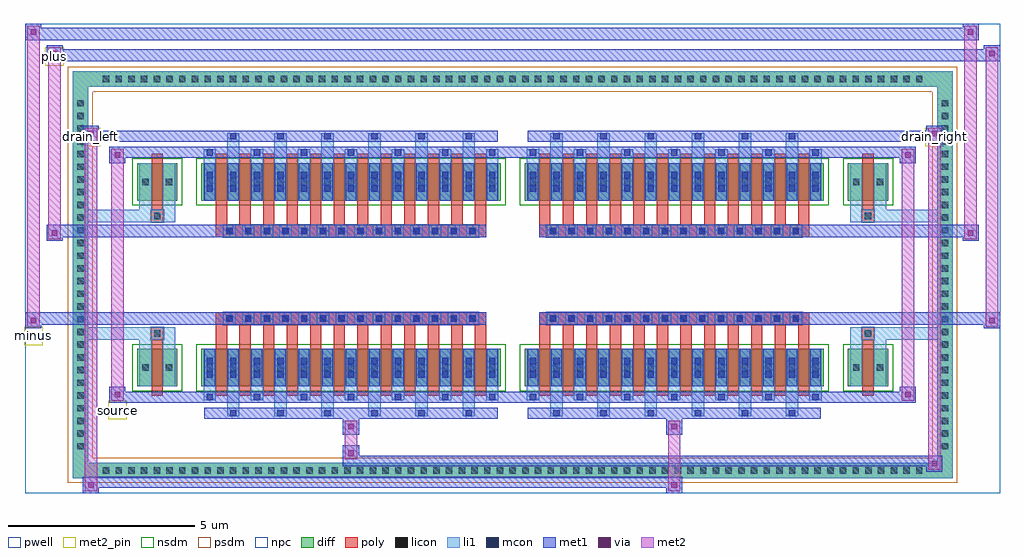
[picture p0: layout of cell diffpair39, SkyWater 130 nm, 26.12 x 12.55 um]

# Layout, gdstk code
import gdstk
lib = gdstk.Library(unit=1e-6, precision=5e-09)
def R(c, l, rs):  # rectangles x0, y0, x1, y1
    for r in rs: c.add(gdstk.rectangle(r[:2], r[2:], *l))
def A(c, l, x, y, w, h, nx, ny, dx, dy):  # array of equal rectangles
    R(c, l, [(x+i*dx, y+j*dy, x+i*dx+w, y+j*dy+h) for i in range(nx) for j in range(ny)])
def P(c, l, *ps):  # polygons
    for p in ps: c.add(gdstk.Polygon(p, *l))
pwell = (64, 44)
diff = (65, 20)
poly = (66, 20)
licon = (66, 44)
li1 = (67, 20)
mcon = (67, 44)
met1 = (68, 20)
via = (68, 44)
met2_pin = (69, 16)
met2 = (69, 20)
nsdm = (93, 44)
psdm = (94, 20)
npc = (95, 20)

diffpair39 = lib.new_cell('diffpair39')
R(diffpair39, pwell, [(-13.04,-5.84,13.04,6.71), (-10.36,-4.03,-0.01,-0.805), (0.01,-4.03,10.36,-0.805), (-10.36,0.805,-0.01,4.03), (0.01,0.805,10.36,4.03)])
A(diffpair39, diff, -11.085, -5.44, 0.41, 0.41, 65, 2, 0.34, 10.47)
A(diffpair39, diff, -11.77, -4.795, 0.41, 0.41, 1, 28, 0, 0.34)
A(diffpair39, diff, 11.36, -4.795, 0.41, 0.41, 1, 28, 0, 0.34)
R(diffpair39, diff, [(-11.085,-5.44,11.085,-5.03), (-11.77,-4.795,-11.36,4.795), (11.36,-4.795,11.77,4.795), (-10.05,-2.985,-8.97,-1.985), (-8.33,-2.985,-0.32,-1.985), (0.32,-2.985,8.33,-1.985), (8.97,-2.985,10.05,-1.985), (-10.05,1.985,-8.97,2.985), (-8.33,1.985,-0.32,2.985), (0.32,1.985,8.33,2.985), (8.97,1.985,10.05,2.985), (-11.085,5.03,11.085,5.44)])
P(diffpair39, diff, [(11.77,5.44),(-11.77,5.44),(-11.77,-5.03),(-11.36,-5.03),(-11.36,5.03),(11.36,5.03),(11.36,-5.03),(-11.36,-5.03),(-11.77,-5.03),(-11.77,-5.44),(11.77,-5.44)])
A(diffpair39, poly, -7.94, -3.235, 0.3, 1.5, 12, 2, 0.63, 4.97)
A(diffpair39, poly, 0.71, -3.235, 0.3, 1.5, 12, 2, 0.63, 4.97)
A(diffpair39, poly, -7.94, -1.735, 0.3, 0.4, 12, 2, 0.63, 3.07)
A(diffpair39, poly, 0.71, -1.735, 0.3, 0.4, 12, 2, 0.63, 3.07)
A(diffpair39, poly, -7.74, -1.335, 0.33, 0.33, 14, 2, 0.5, 2.34)
A(diffpair39, poly, 0.91, -1.335, 0.33, 0.33, 14, 2, 0.5, 2.34)
R(diffpair39, poly, [(-9.66,-3.235,-9.36,-1.735), (9.36,-3.235,9.66,-1.735), (-9.675,-1.735,-9.345,-1.405), (-9.675,-1.735,-9.345,-1.405), (9.345,-1.735,9.675,-1.405), (9.345,-1.735,9.675,-1.405), (-7.94,-1.335,-0.71,-1.005), (0.71,-1.335,7.94,-1.005), (-7.94,1.005,-0.71,1.335), (0.71,1.005,7.94,1.335), (-9.675,1.405,-9.345,1.735), (-9.675,1.405,-9.345,1.735), (9.345,1.405,9.675,1.735), (9.345,1.405,9.675,1.735), (-9.66,1.735,-9.36,3.235), (9.36,1.735,9.66,3.235)])
A(diffpair39, licon, -10.965, -5.32, 0.17, 0.17, 65, 2, 0.34, 10.47)
A(diffpair39, licon, -11.65, -4.675, 0.17, 0.17, 1, 28, 0, 0.34)
A(diffpair39, licon, 11.48, -4.675, 0.17, 0.17, 1, 28, 0, 0.34)
A(diffpair39, licon, -8.19, -2.57, 0.17, 0.17, 13, 2, 0.63, 4.97)
A(diffpair39, licon, 0.46, -2.57, 0.17, 0.17, 13, 2, 0.63, 4.97)
A(diffpair39, licon, -7.66, -1.255, 0.17, 0.17, 14, 2, 0.5, 2.34)
A(diffpair39, licon, 0.99, -1.255, 0.17, 0.17, 14, 2, 0.5, 2.34)
R(diffpair39, licon, [(-9.91,-2.57,-9.74,-2.4), (-9.28,-2.57,-9.11,-2.4), (9.11,-2.57,9.28,-2.4), (9.74,-2.57,9.91,-2.4), (-9.595,-1.655,-9.425,-1.485), (9.425,-1.655,9.595,-1.485), (-9.595,1.485,-9.425,1.655), (9.425,1.485,9.595,1.655), (-9.91,2.4,-9.74,2.57), (-9.28,2.4,-9.11,2.57), (9.11,2.4,9.28,2.57), (9.74,2.4,9.91,2.57)])
A(diffpair39, li1, -11.045, -5.4, 0.33, 0.33, 65, 2, 0.34, 10.47)
A(diffpair39, li1, -11.73, -4.755, 0.33, 0.33, 1, 28, 0, 0.34)
A(diffpair39, li1, 11.4, -4.755, 0.33, 0.33, 1, 28, 0, 0.34)
A(diffpair39, li1, -7.64, -3.79, 0.33, 0.805, 6, 2, 1.26, 6.775)
A(diffpair39, li1, -7.56, -3.79, 0.17, 0.17, 6, 2, 1.26, 7.41)
A(diffpair39, li1, 1.01, -3.79, 0.33, 0.805, 6, 2, 1.26, 6.775)
A(diffpair39, li1, 1.09, -3.79, 0.17, 0.17, 6, 2, 1.26, 7.41)
A(diffpair39, li1, -8.27, -3.36, 0.33, 0.375, 7, 2, 1.26, 6.345)
A(diffpair39, li1, -8.19, -3.36, 0.17, 0.17, 7, 2, 1.26, 6.55)
A(diffpair39, li1, 0.38, -3.36, 0.33, 0.375, 7, 2, 1.26, 6.345)
A(diffpair39, li1, 0.46, -3.36, 0.17, 0.17, 7, 2, 1.26, 6.55)
A(diffpair39, li1, -8.27, -2.985, 0.33, 1, 13, 2, 0.63, 4.97)
A(diffpair39, li1, 0.38, -2.985, 0.33, 1, 13, 2, 0.63, 4.97)
A(diffpair39, li1, -8.19, -2.75, 0.17, 0.17, 13, 2, 0.63, 0.36)
A(diffpair39, li1, -8.19, -2.75, 0.17, 0.53, 13, 2, 0.63, 4.97)
A(diffpair39, li1, 0.46, -2.75, 0.17, 0.17, 13, 2, 0.63, 0.36)
A(diffpair39, li1, 0.46, -2.75, 0.17, 0.53, 13, 2, 0.63, 4.97)
A(diffpair39, li1, -8.27, -2.65, 0.33, 0.33, 13, 2, 0.63, 4.97)
A(diffpair39, li1, 0.38, -2.65, 0.33, 0.33, 13, 2, 0.63, 4.97)
A(diffpair39, li1, -7.74, -1.335, 0.33, 0.33, 14, 2, 0.5, 2.34)
A(diffpair39, li1, 0.91, -1.335, 0.33, 0.33, 14, 2, 0.5, 2.34)
A(diffpair39, li1, -8.19, 2.22, 0.17, 0.17, 13, 2, 0.63, 0.36)
A(diffpair39, li1, 0.46, 2.22, 0.17, 0.17, 13, 2, 0.63, 0.36)
R(diffpair39, li1, [(-11.77,-5.44,-11.36,-5.03), (-11.77,-5.44,-11.36,-5.03), (-11.36,-5.44,11.36,-5.03), (11.36,-5.44,11.77,-5.03), (11.36,-5.44,11.77,-5.03), (-11.77,-5.03,-11.36,5.03), (11.36,-5.03,11.77,5.03), (-9.99,-2.985,-9.66,-1.985), (-9.36,-2.985,-9.03,-1.985), (9.03,-2.985,9.36,-1.985), (9.66,-2.985,9.99,-1.985), (-9.99,-2.65,-9.66,-2.32), (-9.36,-2.65,-9.03,-2.32), (9.03,-2.65,9.36,-2.32), (9.66,-2.65,9.99,-2.32), (-9.99,-1.985,-9.66,-1.405), (-9.36,-1.985,-9.03,-1.405), (9.03,-1.985,9.36,-1.405), (9.66,-1.985,9.99,-1.405), (-11.77,-1.735,-9.675,-1.405), (-9.99,-1.735,-9.675,-1.405), (-9.675,-1.735,-9.345,-1.405), (-9.345,-1.735,-9.03,-1.405), (9.03,-1.735,9.345,-1.405), (9.345,-1.735,9.675,-1.405), (9.345,-1.735,11.77,-1.405), (9.675,-1.735,9.99,-1.405), (-11.77,1.405,-9.675,1.735), (-9.99,1.405,-9.675,1.735), (-9.99,1.405,-9.66,1.985), (-9.675,1.405,-9.345,1.735), (-9.36,1.405,-9.03,1.985), (-9.345,1.405,-9.03,1.735), (9.03,1.405,9.345,1.735), (9.03,1.405,9.36,1.985), (9.345,1.405,9.675,1.735), (9.345,1.405,11.77,1.735), (9.66,1.405,9.99,1.985), (9.675,1.405,9.99,1.735), (-9.99,1.985,-9.66,2.985), (-9.36,1.985,-9.03,2.985), (9.03,1.985,9.36,2.985), (9.66,1.985,9.99,2.985), (-9.99,2.32,-9.66,2.65), (-9.36,2.32,-9.03,2.65), (9.03,2.32,9.36,2.65), (9.66,2.32,9.99,2.65), (-11.77,5.03,-11.36,5.44), (-11.77,5.03,-11.36,5.44), (-11.36,5.03,11.36,5.44), (11.36,5.03,11.77,5.44), (11.36,5.03,11.77,5.44)])
A(diffpair39, mcon, -7.56, -3.79, 0.17, 0.17, 6, 2, 1.26, 7.41)
A(diffpair39, mcon, 1.09, -3.79, 0.17, 0.17, 6, 2, 1.26, 7.41)
A(diffpair39, mcon, -8.19, -3.36, 0.17, 0.17, 7, 2, 1.26, 6.55)
A(diffpair39, mcon, 0.46, -3.36, 0.17, 0.17, 7, 2, 1.26, 6.55)
A(diffpair39, mcon, -8.19, -2.75, 0.17, 0.17, 13, 2, 0.63, 0.36)
A(diffpair39, mcon, 0.46, -2.75, 0.17, 0.17, 13, 2, 0.63, 0.36)
A(diffpair39, mcon, -7.66, -1.255, 0.17, 0.17, 14, 2, 0.5, 2.34)
A(diffpair39, mcon, 0.99, -1.255, 0.17, 0.17, 14, 2, 0.5, 2.34)
A(diffpair39, mcon, -8.19, 2.22, 0.17, 0.17, 13, 2, 0.63, 0.36)
A(diffpair39, mcon, 0.46, 2.22, 0.17, 0.17, 13, 2, 0.63, 0.36)
A(diffpair39, met1, -7.62, -3.85, 0.29, 0.29, 6, 2, 1.26, 7.41)
A(diffpair39, met1, 1.03, -3.85, 0.29, 0.29, 6, 2, 1.26, 7.41)
A(diffpair39, met1, -8.25, -3.42, 0.29, 0.29, 7, 2, 1.26, 6.55)
A(diffpair39, met1, 0.4, -3.42, 0.29, 0.29, 7, 2, 1.26, 6.55)
A(diffpair39, met1, -8.25, -2.985, 0.29, 1, 13, 2, 0.63, 4.97)
A(diffpair39, met1, 0.4, -2.985, 0.29, 1, 13, 2, 0.63, 4.97)
A(diffpair39, met1, -8.25, -2.81, 0.29, 0.29, 13, 2, 0.63, 0.36)
A(diffpair39, met1, 0.4, -2.81, 0.29, 0.29, 13, 2, 0.63, 0.36)
A(diffpair39, met1, -7.72, -1.315, 0.29, 0.29, 14, 2, 0.5, 2.34)
A(diffpair39, met1, 0.93, -1.315, 0.29, 0.29, 14, 2, 0.5, 2.34)
A(diffpair39, met1, -8.25, 2.16, 0.29, 0.29, 13, 2, 0.63, 0.36)
A(diffpair39, met1, 0.4, 2.16, 0.29, 0.29, 13, 2, 0.63, 0.36)
R(diffpair39, met1, [(-11.5,-5.84,-11.07,-5.41), (4.11,-5.84,4.54,-5.41), (-11.5,-5.7,4.54,-5.41), (11.07,-5.27,11.5,-4.84), (-4.54,-5.13,11.5,-4.84), (-4.54,-4.99,-4.11,-4.56), (-4.54,-4.28,-4.11,-3.85), (4.11,-4.28,4.54,-3.85), (-8.25,-3.85,-0.4,-3.56), (0.4,-3.85,8.25,-3.56), (-10.79,-3.42,-10.36,-2.99), (-10.79,-3.42,-8.25,-3.13), (-8.25,-3.42,-0.4,-3.13), (-0.4,-3.42,0.4,-3.13), (0.4,-3.42,8.25,-3.13), (8.25,-3.42,10.79,-3.13), (10.36,-3.42,10.79,-2.99), (-13.04,-1.435,-12.61,-1.005), (12.61,-1.435,13.04,-1.005), (-13.04,-1.335,-0.71,-1.005), (-7.94,-1.335,-0.71,-1.005), (0.71,-1.335,7.94,-1.005), (0.71,-1.335,13.04,-1.005), (-12.47,0.905,-12.04,1.335), (12.04,0.905,12.47,1.335), (-12.47,1.005,-7.94,1.335), (-7.94,1.005,-0.71,1.335), (0.71,1.005,7.94,1.335), (7.94,1.005,12.47,1.335), (-10.79,2.99,-10.36,3.42), (10.36,2.99,10.79,3.42), (-10.79,3.13,-8.25,3.42), (-8.25,3.13,-0.4,3.42), (-0.4,3.13,0.4,3.42), (0.4,3.13,8.25,3.42), (8.25,3.13,10.79,3.42), (-11.5,3.56,-11.07,3.99), (-11.5,3.56,-8.25,3.85), (-8.25,3.56,-0.4,3.85), (0.4,3.56,8.25,3.85), (8.25,3.56,11.5,3.85), (11.07,3.56,11.5,3.99), (-12.47,5.71,-12.04,6.14), (-12.47,5.71,-10.36,6.04), (-10.36,5.71,10.36,6.04), (10.36,5.71,13.04,6.04), (12.61,5.71,13.04,6.14), (-13.04,6.28,-12.61,6.71), (-13.04,6.28,-10.36,6.61), (-10.36,6.28,10.36,6.61), (10.36,6.28,12.47,6.61), (12.04,6.28,12.47,6.71)])
R(diffpair39, via, [(-11.36,-5.7,-11.21,-5.55), (4.25,-5.7,4.4,-5.55), (11.21,-5.13,11.36,-4.98), (-4.4,-4.85,-4.25,-4.7), (-4.4,-4.14,-4.25,-3.99), (4.25,-4.14,4.4,-3.99), (-10.65,-3.28,-10.5,-3.13), (10.5,-3.28,10.65,-3.13), (-12.9,-1.295,-12.75,-1.145), (12.75,-1.295,12.9,-1.145), (-12.33,1.045,-12.18,1.195), (12.18,1.045,12.33,1.195), (-10.65,3.13,-10.5,3.28), (10.5,3.13,10.65,3.28), (-11.36,3.7,-11.21,3.85), (11.21,3.7,11.36,3.85), (-12.33,5.85,-12.18,6), (12.75,5.85,12.9,6), (-12.9,6.42,-12.75,6.57), (12.18,6.42,12.33,6.57)])
R(diffpair39, met2_pin, [(-10.825,-3.87,-10.325,-3.37), (-13.075,-1.885,-12.575,-1.385), (-11.535,3.44,-11.035,3.94), (11.035,3.44,11.535,3.94), (-12.505,5.59,-12.005,6.09)])
R(diffpair39, met2, [(-11.45,-5.79,-11.12,-5.46), (-11.45,-5.79,-11.12,3.94), (4.16,-5.79,4.49,-5.46), (4.16,-5.46,4.49,-4.23), (11.12,-5.22,11.45,-4.89), (11.12,-5.22,11.45,3.94), (-4.49,-4.94,-4.16,-4.61), (-4.49,-4.61,-4.16,-4.23), (-4.49,-4.23,-4.16,-3.9), (4.16,-4.23,4.49,-3.9), (-10.74,-3.37,-10.41,-3.04), (-10.74,-3.37,-10.41,3.37), (10.41,-3.37,10.74,-3.04), (10.41,-3.37,10.74,3.37), (-12.99,-1.385,-12.66,-1.055), (-12.99,-1.385,-12.66,6.66), (12.66,-1.385,12.99,-1.055), (12.66,-1.385,12.99,6.09), (-12.42,0.955,-12.09,1.285), (-12.42,0.955,-12.09,6.09), (12.09,0.955,12.42,1.285), (12.09,0.955,12.42,6.66), (-10.74,3.04,-10.41,3.37), (10.41,3.04,10.74,3.37), (-11.45,3.61,-11.12,3.94), (11.12,3.61,11.45,3.94), (-12.42,5.76,-12.09,6.09), (12.66,5.76,12.99,6.09), (-12.99,6.33,-12.66,6.66), (12.09,6.33,12.42,6.66)])
P(diffpair39, met2, [(12.99,-1.385),(12.99,-1.385),(12.99,-1.055),(12.99,-1.055)],
  [(12.99,5.76),(12.99,5.76),(12.99,6.09),(12.99,6.09)],
  [(-12.66,-1.385),(-12.66,-1.385),(-12.66,-1.055),(-12.66,-1.055)],
  [(-12.66,6.33),(-12.66,6.33),(-12.66,6.66),(-12.66,6.66)],
  [(12.42,0.955),(12.42,0.955),(12.42,1.285),(12.42,1.285)],
  [(12.42,6.33),(12.42,6.33),(12.42,6.66),(12.42,6.66)],
  [(-12.09,0.955),(-12.09,0.955),(-12.09,1.285),(-12.09,1.285)],
  [(-12.09,5.76),(-12.09,5.76),(-12.09,6.09),(-12.09,6.09)],
  [(-11.12,-5.79),(-11.12,-5.79),(-11.12,-5.46),(-11.12,-5.46)],
  [(-11.12,3.61),(-11.12,3.61),(-11.12,3.94),(-11.12,3.94)],
  [(11.45,-5.22),(11.45,-5.22),(11.45,-4.89),(11.45,-4.89)],
  [(11.45,3.61),(11.45,3.61),(11.45,3.94),(11.45,3.94)],
  [(-10.41,-3.37),(-10.41,-3.37),(-10.41,-3.04),(-10.41,-3.04)],
  [(-10.41,3.04),(-10.41,3.04),(-10.41,3.37),(-10.41,3.37)],
  [(10.74,-3.37),(10.74,-3.37),(10.74,-3.04),(10.74,-3.04)],
  [(10.74,3.04),(10.74,3.04),(10.74,3.37),(10.74,3.37)])
R(diffpair39, nsdm, [(-10.18,-3.115,-8.84,-1.855), (-8.46,-3.115,-0.19,-1.855), (0.19,-3.115,8.46,-1.855), (8.84,-3.115,10.18,-1.855), (-10.18,1.855,-8.84,3.115), (-8.46,1.855,-0.19,3.115), (0.19,1.855,8.46,3.115), (8.84,1.855,10.18,3.115)])
P(diffpair39, psdm, [(11.9,5.57),(-11.9,5.57),(-11.9,-4.9),(-11.23,-4.9),(-11.23,4.9),(11.23,4.9),(11.23,-4.9),(-11.23,-4.9),(-11.9,-4.9),(-11.9,-5.57),(11.9,-5.57)])
A(diffpair39, npc, -7.76, -1.355, 0.37, 0.37, 14, 2, 0.5, 2.34)
A(diffpair39, npc, 0.89, -1.355, 0.37, 0.37, 14, 2, 0.5, 2.34)
R(diffpair39, npc, [(-9.695,-1.755,-9.325,-1.385), (9.325,-1.755,9.695,-1.385), (-7.76,-1.355,-6.89,-0.985), (-7.76,-1.355,-6.89,-0.985), (-7.26,-1.355,-6.39,-0.985), (-7.26,-1.355,-6.39,-0.985), (-6.76,-1.355,-5.89,-0.985), (-6.76,-1.355,-5.89,-0.985), (-6.26,-1.355,-5.39,-0.985), (-6.26,-1.355,-5.39,-0.985), (-5.76,-1.355,-4.89,-0.985), (-5.76,-1.355,-4.89,-0.985), (-5.26,-1.355,-4.39,-0.985), (-5.26,-1.355,-4.39,-0.985), (-4.76,-1.355,-3.89,-0.985), (-4.76,-1.355,-3.89,-0.985), (-4.26,-1.355,-3.39,-0.985), (-4.26,-1.355,-3.39,-0.985), (-3.76,-1.355,-2.89,-0.985), (-3.76,-1.355,-2.89,-0.985), (-3.26,-1.355,-2.39,-0.985), (-3.26,-1.355,-2.39,-0.985), (-2.76,-1.355,-1.89,-0.985), (-2.76,-1.355,-1.89,-0.985), (-2.26,-1.355,-1.39,-0.985), (-2.26,-1.355,-1.39,-0.985), (-1.76,-1.355,-0.89,-0.985), (-1.76,-1.355,-0.89,-0.985), (0.89,-1.355,1.76,-0.985), (0.89,-1.355,1.76,-0.985), (1.39,-1.355,2.26,-0.985), (1.39,-1.355,2.26,-0.985), (1.89,-1.355,2.76,-0.985), (1.89,-1.355,2.76,-0.985), (2.39,-1.355,3.26,-0.985), (2.39,-1.355,3.26,-0.985), (2.89,-1.355,3.76,-0.985), (2.89,-1.355,3.76,-0.985), (3.39,-1.355,4.26,-0.985), (3.39,-1.355,4.26,-0.985), (3.89,-1.355,4.76,-0.985), (3.89,-1.355,4.76,-0.985), (4.39,-1.355,5.26,-0.985), (4.39,-1.355,5.26,-0.985), (4.89,-1.355,5.76,-0.985), (4.89,-1.355,5.76,-0.985), (5.39,-1.355,6.26,-0.985), (5.39,-1.355,6.26,-0.985), (5.89,-1.355,6.76,-0.985), (5.89,-1.355,6.76,-0.985), (6.39,-1.355,7.26,-0.985), (6.39,-1.355,7.26,-0.985), (6.89,-1.355,7.76,-0.985), (6.89,-1.355,7.76,-0.985), (-7.76,0.985,-6.89,1.355), (-7.76,0.985,-6.89,1.355), (-7.26,0.985,-6.39,1.355), (-7.26,0.985,-6.39,1.355), (-6.76,0.985,-5.89,1.355), (-6.76,0.985,-5.89,1.355), (-6.26,0.985,-5.39,1.355), (-6.26,0.985,-5.39,1.355), (-5.76,0.985,-4.89,1.355), (-5.76,0.985,-4.89,1.355), (-5.26,0.985,-4.39,1.355), (-5.26,0.985,-4.39,1.355), (-4.76,0.985,-3.89,1.355), (-4.76,0.985,-3.89,1.355), (-4.26,0.985,-3.39,1.355), (-4.26,0.985,-3.39,1.355), (-3.76,0.985,-2.89,1.355), (-3.76,0.985,-2.89,1.355), (-3.26,0.985,-2.39,1.355), (-3.26,0.985,-2.39,1.355), (-2.76,0.985,-1.89,1.355), (-2.76,0.985,-1.89,1.355), (-2.26,0.985,-1.39,1.355), (-2.26,0.985,-1.39,1.355), (-1.76,0.985,-0.89,1.355), (-1.76,0.985,-0.89,1.355), (0.89,0.985,1.76,1.355), (0.89,0.985,1.76,1.355), (1.39,0.985,2.26,1.355), (1.39,0.985,2.26,1.355), (1.89,0.985,2.76,1.355), (1.89,0.985,2.76,1.355), (2.39,0.985,3.26,1.355), (2.39,0.985,3.26,1.355), (2.89,0.985,3.76,1.355), (2.89,0.985,3.76,1.355), (3.39,0.985,4.26,1.355), (3.39,0.985,4.26,1.355), (3.89,0.985,4.76,1.355), (3.89,0.985,4.76,1.355), (4.39,0.985,5.26,1.355), (4.39,0.985,5.26,1.355), (4.89,0.985,5.76,1.355), (4.89,0.985,5.76,1.355), (5.39,0.985,6.26,1.355), (5.39,0.985,6.26,1.355), (5.89,0.985,6.76,1.355), (5.89,0.985,6.76,1.355), (6.39,0.985,7.26,1.355), (6.39,0.985,7.26,1.355), (6.89,0.985,7.76,1.355), (6.89,0.985,7.76,1.355), (-9.695,1.385,-9.325,1.755), (9.325,1.385,9.695,1.755)])
diffpair39.add(gdstk.Label('minus', (-12.825,-1.635), layer=69, texttype=5))
diffpair39.add(gdstk.Label('drain_right', (11.285,3.69), layer=69, texttype=5))
diffpair39.add(gdstk.Label('drain_left', (-11.285,3.69), layer=69, texttype=5))
diffpair39.add(gdstk.Label('source', (-10.575,-3.62), layer=69, texttype=5))
diffpair39.add(gdstk.Label('plus', (-12.255,5.84), layer=69, texttype=5))

lib.write_gds('diffpair39.gds')
